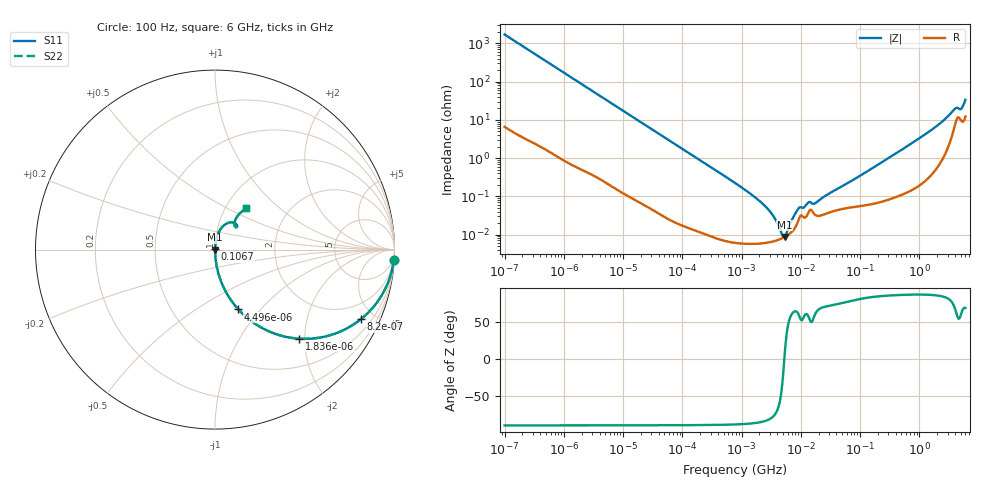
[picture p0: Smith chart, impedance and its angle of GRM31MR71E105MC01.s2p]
!Murata Part Number: GRM31MR71E105MC01
!These Parameters are Measured in Series Mode Connection
!Data Generated on Mar 30, 2021
!  o--ll--o
!Port1  Port2
!  o------o
!Operation Temp=25[degC], DC Bias Voltage=0[V]
!Freq. Start=100[Hz] Stop=6[GHz] 401[Steps]
# Hz S RI R 50
!Freq.(Hz) S11(Real) S11(Imag) S21(Real) S21(Imag) S12(Real) S12(Imag) S22(Real) S22(Imag)
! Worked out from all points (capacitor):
!   401 points, 100 Hz to 6 GHz, reference 50 ohm
!   read as one part in series: C = 931 nF near 109 Hz
!   lowest |Z| = 8.63 mohm at 5.312 MHz (marker M1)
!   series resonance near 5.27 MHz, so ESL is about 980 pH
!   S11 on the Smith chart (normalised r, x): 100 Hz: 1, -34; 820 Hz: 1.02, -4.19; 1.836 kHz: 1.01, -1.88; 4.496 kHz: 1.01, -0.77; 106.7 MHz: 1.00, +0.01; 6 GHz: 1.24, +0.62
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100  0.9964 -0.0583  0.00364 0.0583  0.00364 0.0583  0.9964 -0.0583
383  0.9515 -0.2125  0.0485 0.2125  0.0485 0.2125  0.9515 -0.2125
820  0.8132 -0.3873  0.1868 0.3873  0.1868 0.3873  0.8132 -0.3873
1836  0.4681 -0.4962  0.5319 0.4962  0.5319 0.4962  0.4681 -0.4962
2008  0.4243 -0.4914  0.5757 0.4914  0.5757 0.4914  0.4243 -0.4914
4496  0.1304 -0.3335  0.8696 0.3335  0.8696 0.3335  0.1304 -0.3335
12041  0.0213 -0.141  0.9787 0.141  0.9787 0.141  0.0213 -0.141
40335  0.00222 -0.0432  0.9978 0.0432  0.9978 0.0432  0.00222 -0.0432
774597  6.56e-05 -0.00223  0.9999 0.00223  0.9999 0.00223  6.56e-05 -0.00223
2594782  6.09e-05 -0.000518  0.9999 0.000518  0.9999 0.000518  6.09e-05 -0.000518
3549919  6.72e-05 -0.000274  0.9999 0.000274  0.9999 0.000274  6.72e-05 -0.000274
4643984  7.78e-05 -8.61e-05  0.9999 8.61e-05  0.9999 8.61e-05  7.78e-05 -8.61e-05
5311619  8.61e-05 5.5e-06  0.9999 -5.5e-06  0.9999 -5.5e-06  8.61e-05 5.5e-06
9090158  0.000231 0.000414  0.9998 -0.000414  0.9998 -0.000414  0.000231 0.000414
1.360128e7  0.000389 0.000585  0.9996 -0.000585  0.9996 -0.000585  0.000389 0.000585
1.555665e7  0.000414 0.0005  0.9996 -0.0005  0.9996 -0.0005  0.000414 0.0005
1.066761e8  0.000575 0.00362  0.9994 -0.00362  0.9994 -0.00362  0.000575 0.00362
3.124326e8  0.000936 0.0103  0.9991 -0.0103  0.9991 -0.0103  0.000936 0.0103
2.562649e9  0.0191 0.0928  0.9809 -0.0928  0.9809 -0.0928  0.0191 0.0928
3.8344e9  0.0791 0.1508  0.9209 -0.1508  0.9209 -0.1508  0.0791 0.1508
5.016141e9  0.1092 0.1324  0.8908 -0.1324  0.8908 -0.1324  0.1092 0.1324
6e9  0.1723 0.2295  0.8277 -0.2295  0.8277 -0.2295  0.1723 0.2295
